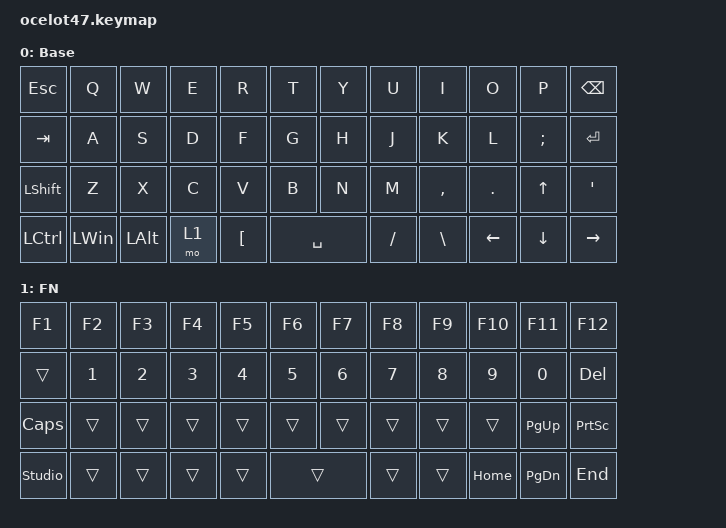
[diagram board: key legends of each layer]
// This file was generated from a template. Edit it to match your keyboard.
// See https://zmk.dev/docs/development/hardware-integration/new-shield for more instructions.

#include <behaviors.dtsi>
#include <dt-bindings/zmk/keys.h>

/ {
    // Define a default keymap here.
    // See https://zmk.dev/docs/development/hardware-integration/new-shield#default-keymap.
    keymap {
        compatible = "zmk,keymap";

        default_layer { // Layer 0
            display-name = "Base";
            bindings = <
                &kp ESC    &kp Q    &kp W    &kp E    &kp R    &kp T    &kp Y    &kp U    &kp I     &kp O    &kp P     &kp BSPC
                &kp TAB    &kp A    &kp S    &kp D    &kp F    &kp G    &kp H    &kp J    &kp K     &kp L    &kp SEMI  &kp RET
                &kp LSHFT  &kp Z    &kp X    &kp C    &kp V    &kp B    &kp N    &kp M    &kp COMMA &kp DOT  &kp UP    &kp SQT
                &kp LCTRL  &kp LWIN &kp LALT &mo 1    &kp LBKT    &kp SPACE      &kp FSLH &kp BSLH  &kp LEFT &kp DOWN  &kp RIGHT
            >;
        };
        fn_layer { // Layer 1
            display-name = "FN";
            bindings = <
                &kp F1     &kp F2   &kp F3   &kp F4   &kp F5   &kp F6   &kp F7   &kp F8   &kp F9    &kp F10  &kp F11   &kp F12
                &trans   &kp N1   &kp N2   &kp N3   &kp N4   &kp N5   &kp N6   &kp N7   &kp N8    &kp N9   &kp N0    &kp DEL
                &kp CAPS   &trans   &trans   &trans   &trans   &trans   &trans   &trans   &trans    &trans   &kp PG_UP &kp PSCRN
                &studio_unlock     &trans  &trans   &trans   &trans      &trans         &trans   &trans    &kp HOME &kp PG_DN &kp END
            >;
        };

        extra1 {
            status = "reserved";
        };

        extra2 {
            status = "reserved";
        };
    };
};
